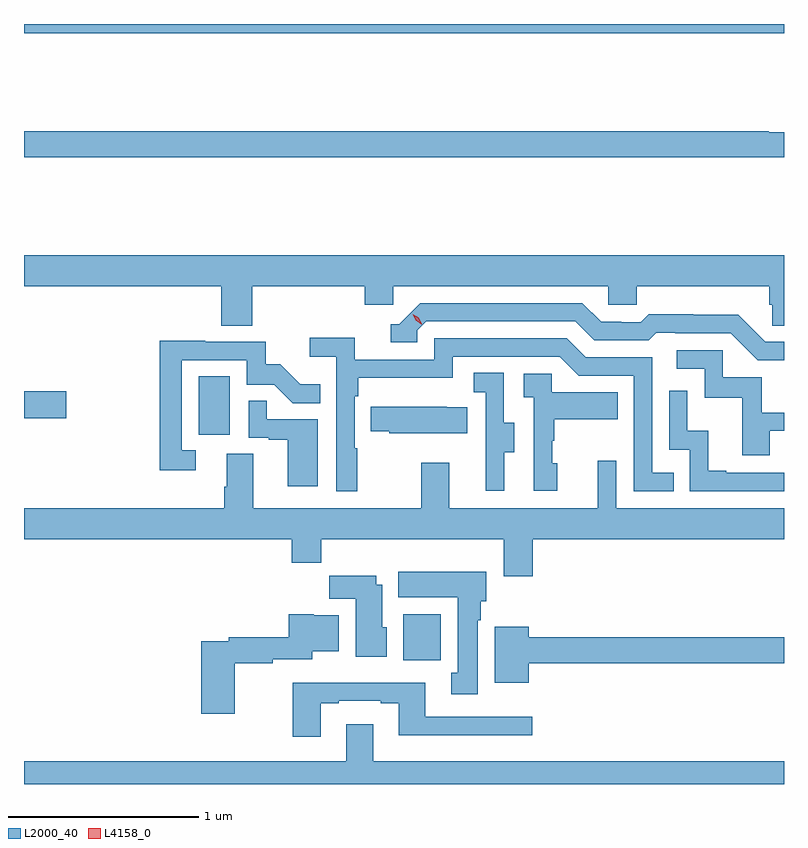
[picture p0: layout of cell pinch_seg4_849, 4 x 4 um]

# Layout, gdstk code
import gdstk
lib = gdstk.Library(unit=1e-6, precision=1e-09)
def R(c, l, rs):  # rectangles x0, y0, x1, y1
    for r in rs: c.add(gdstk.rectangle(r[:2], r[2:], *l))
def P(c, l, *ps):  # polygons
    for p in ps: c.add(gdstk.Polygon(p, *l))
L2000_40 = (2000, 40)
L4158_0 = (4158, 0)

pinch_seg4_849 = lib.new_cell('pinch_seg4_849')
R(pinch_seg4_849, L2000_40, [(882.125,789.524,882.322,789.766), (881.048,790.71,881.212,791.017), (880.128,790.798,880.351,790.94), (880.128,792.824,884.128,792.872)])
P(pinch_seg4_849, L2000_40, [(884.128,792.301),(884.048,792.301),(884.048,792.308),(880.128,792.308),(880.128,792.172),(884.128,792.172)],
  [(881.33,791.492),(881.921,791.492),(881.921,791.394),(882.072,791.394),(882.072,791.492),(883.203,791.492),(883.203,791.394),(883.353,791.394),(883.353,791.492),(884.051,791.492),(884.051,791.394),(884.065,791.394),(884.065,791.284),(884.128,791.284),(884.128,791.656),(880.128,791.656),(880.128,791.492),(881.165,791.492),(881.165,791.284),(881.33,791.284)],
  [(884.128,791.199),(884.028,791.199),(883.886,791.341),(883.65,791.341),(883.65,791.344),(883.417,791.344),(883.375,791.301),(883.272,791.301),(883.272,791.304),(883.165,791.304),(883.066,791.403),(882.213,791.403),(882.102,791.292),(882.059,791.292),(882.059,791.196),(882.198,791.196),(882.198,791.259),(882.246,791.307),(883.029,791.307),(883.128,791.208),(883.417,791.208),(883.456,791.247),(883.555,791.247),(883.555,791.244),(883.848,791.244),(883.989,791.103),(884.128,791.103)],
  [(881.881,790.64),(881.868,790.64),(881.868,790.913),(881.888,790.913),(881.888,791.009),(882.384,791.009),(882.384,791.121),(882.948,791.121),(883.047,791.022),(883.338,791.022),(883.338,790.413),(883.547,790.413),(883.547,790.509),(883.434,790.509),(883.434,791.118),(883.084,791.118),(882.985,791.217),(882.288,791.217),(882.288,791.106),(881.87,791.106),(881.87,791.222),(881.631,791.222),(881.631,791.12),(881.772,791.12),(881.772,790.413),(881.881,790.413)],
  [(881.032,790.629),(880.959,790.629),(880.959,791.103),(881.301,791.103),(881.301,790.974),(881.445,790.974),(881.543,790.876),(881.687,790.876),(881.687,790.975),(881.583,790.975),(881.476,791.082),(881.4,791.082),(881.4,791.199),(881.081,791.199),(881.081,791.204),(880.843,791.204),(880.843,790.524),(881.032,790.524)],
  [(884.053,790.731),(884.128,790.731),(884.128,790.827),(884.011,790.827),(884.011,791.013),(883.806,791.013),(883.806,791.154),(883.563,791.154),(883.563,791.058),(883.71,791.058),(883.71,790.905),(883.909,790.905),(883.909,790.602),(884.053,790.602)],
  [(882.655,790.618),(882.709,790.618),(882.709,790.773),(882.654,790.773),(882.654,791.036),(882.495,791.036),(882.495,790.933),(882.558,790.933),(882.558,790.629),(882.557,790.629),(882.557,790.416),(882.655,790.416)],
  [(882.934,790.56),(882.909,790.56),(882.909,790.679),(882.919,790.679),(882.919,790.793),(883.253,790.793),(883.253,790.933),(882.906,790.933),(882.906,791.031),(882.759,791.031),(882.759,790.907),(882.81,790.907),(882.81,790.416),(882.934,790.416)],
  [(884.128,790.509),(883.825,790.509),(883.825,790.522),(883.73,790.522),(883.73,790.73),(883.62,790.73),(883.62,790.942),(883.524,790.942),(883.524,790.632),(883.632,790.632),(883.632,790.413),(884.128,790.413)],
  [(881.674,790.791),(881.405,790.791),(881.405,790.889),(881.31,790.889),(881.31,790.695),(881.417,790.695),(881.417,790.683),(881.516,790.683),(881.516,790.44),(881.674,790.44)],
  [(882.461,790.855),(882.353,790.855),(882.353,790.858),(881.953,790.858),(881.953,790.729),(882.051,790.729),(882.051,790.718),(882.461,790.718)],
  [(883.148,790.573),(883.148,790.324),(882.367,790.324),(882.367,790.564),(882.22,790.564),(882.22,790.324),(881.335,790.324),(881.335,790.61),(881.195,790.61),(881.195,790.436),(881.183,790.436),(881.183,790.324),(880.128,790.324),(880.128,790.16),(881.537,790.16),(881.537,790.036),(881.693,790.036),(881.693,790.16),(882.653,790.16),(882.653,789.966),(882.806,789.966),(882.806,790.16),(884.128,790.16),(884.128,790.324),(883.245,790.324),(883.245,790.573)],
  [(882.517,789.734),(882.532,789.734),(882.532,789.834),(882.562,789.834),(882.562,789.988),(882.098,789.988),(882.098,789.854),(882.41,789.854),(882.41,789.458),(882.377,789.458),(882.377,789.345),(882.517,789.345)],
  [(882.037,789.696),(882.013,789.696),(882.013,789.922),(881.983,789.922),(881.983,789.967),(881.734,789.967),(881.734,789.848),(881.873,789.848),(881.873,789.542),(882.037,789.542)],
  [(881.238,789.508),(881.438,789.508),(881.438,789.528),(881.644,789.528),(881.644,789.572),(881.785,789.572),(881.785,789.76),(881.652,789.76),(881.652,789.766),(881.522,789.766),(881.522,789.644),(881.206,789.644),(881.206,789.624),(881.06,789.624),(881.06,789.243),(881.238,789.243)],
  [(882.784,789.508),(884.128,789.508),(884.128,789.644),(882.784,789.644),(882.784,789.7),(882.605,789.7),(882.605,789.404),(882.784,789.404)],
  [(881.689,789.297),(881.785,789.297),(881.785,789.309),(882.005,789.309),(882.005,789.297),(882.101,789.297),(882.101,789.128),(882.802,789.128),(882.802,789.225),(882.241,789.225),(882.241,789.406),(881.542,789.406),(881.542,789.12),(881.689,789.12)],
  [(884.128,788.992),(881.965,788.992),(881.965,789.187),(881.825,789.187),(881.825,788.992),(880.128,788.992),(880.128,788.872),(884.128,788.872)])
P(pinch_seg4_849, L4158_0, [(882.22,791.292),(882.19,791.312),(882.175,791.345),(882.175,791.345),(882.175,791.345),(882.205,791.325),(882.221,791.292),(882.221,791.292)])

lib.write_gds('pinch_seg4_849.gds')
